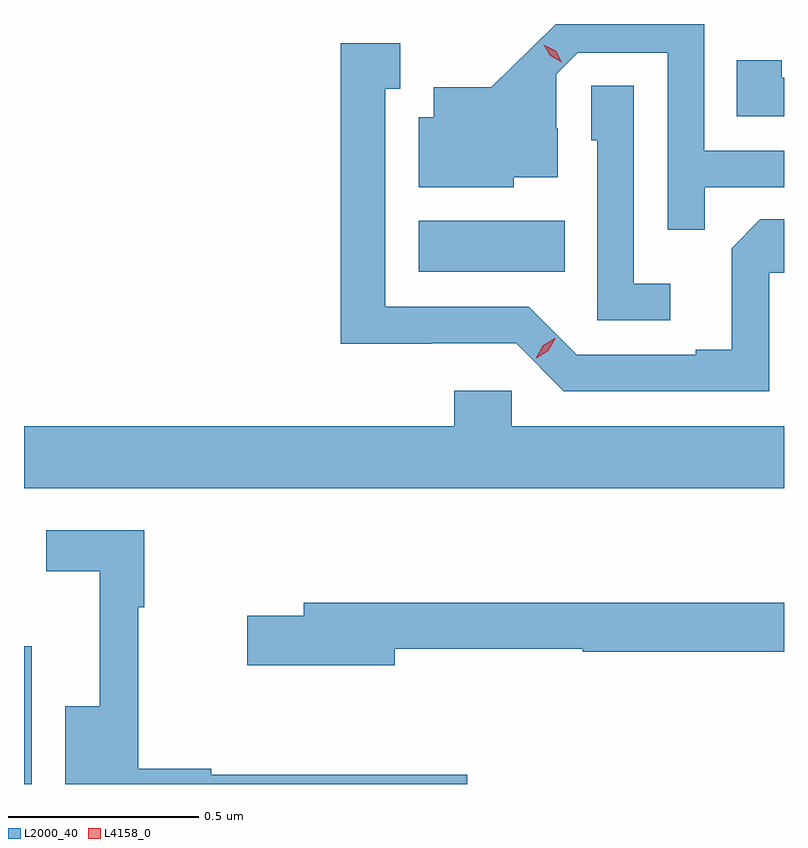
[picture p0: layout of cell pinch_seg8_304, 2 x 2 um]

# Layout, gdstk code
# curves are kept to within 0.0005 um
import gdstk
lib = gdstk.Library(unit=1e-6, precision=1e-09)
def R(c, l, rs):  # rectangles x0, y0, x1, y1
    for r in rs: c.add(gdstk.rectangle(r[:2], r[2:], *l))
def P(c, l, *ps):  # polygons
    for p in ps: c.add(gdstk.Polygon(p, *l))
L2000_40 = (2000, 40)
L4158_0 = (4158, 0)

pinch_seg8_304 = lib.new_cell('pinch_seg8_304')
R(pinch_seg8_304, L2000_40, [(515.509,1141.03,515.529,1141.393), (516.548,1142.378,516.932,1142.512)])
P(pinch_seg8_304, L2000_40, [(517.301,1142.601),(517.509,1142.601),(517.509,1142.697),(517.299,1142.697),(517.299,1143.03),(516.908,1143.03),(516.739,1142.863),(516.587,1142.863),(516.587,1142.785),(516.548,1142.785),(516.548,1142.6),(516.798,1142.6),(516.798,1142.627),(516.913,1142.627),(516.913,1142.756),(516.909,1142.756),(516.909,1142.898),(516.966,1142.955),(517.203,1142.955),(517.203,1142.488),(517.301,1142.488)],
  [(517.47,1142.376),(517.509,1142.376),(517.509,1142.516),(517.447,1142.516),(517.371,1142.44),(517.371,1142.173),(517.277,1142.173),(517.277,1142.16),(516.963,1142.16),(516.837,1142.286),(516.46,1142.286),(516.46,1142.859),(516.499,1142.859),(516.499,1142.98),(516.342,1142.98),(516.342,1142.189),(516.582,1142.189),(516.582,1142.19),(516.804,1142.19),(516.93,1142.064),(517.47,1142.064)],
  [(517.509,1142.888),(517.503,1142.888),(517.503,1142.935),(517.384,1142.935),(517.384,1142.787),(517.509,1142.787)],
  [(517.21,1142.347),(517.113,1142.347),(517.113,1142.867),(517.002,1142.867),(517.002,1142.724),(517.017,1142.724),(517.017,1142.25),(517.21,1142.25)],
  [(517.509,1141.972),(516.792,1141.972),(516.792,1142.065),(516.641,1142.065),(516.641,1141.972),(515.509,1141.972),(515.509,1141.808),(517.509,1141.808)],
  [(516.676,1141.055),(516.002,1141.055),(516.002,1141.07),(515.81,1141.07),(515.81,1141.495),(515.825,1141.495),(515.825,1141.698),(515.568,1141.698),(515.568,1141.59),(515.708,1141.59),(515.708,1141.234),(515.618,1141.234),(515.618,1141.03),(516.676,1141.03)],
  [(516.484,1141.386),(516.98,1141.386),(516.98,1141.378),(517.509,1141.378),(517.509,1141.507),(516.245,1141.507),(516.245,1141.473),(516.096,1141.473),(516.096,1141.343),(516.484,1141.343)])
P(pinch_seg8_304, L4158_0, [(516.924,1142.93),(516.894,1142.946),(516.877,1142.975),(516.877,1142.976),(516.877,1142.976),(516.908,1142.96),(516.924,1142.93),(516.924,1142.93)],
  [(516.857,1142.151),(516.857,1142.152),(516.875,1142.184),(516.906,1142.203),(516.907,1142.203),(516.907,1142.202),(516.889,1142.17),(516.857,1142.151)])

lib.write_gds('pinch_seg8_304.gds')
